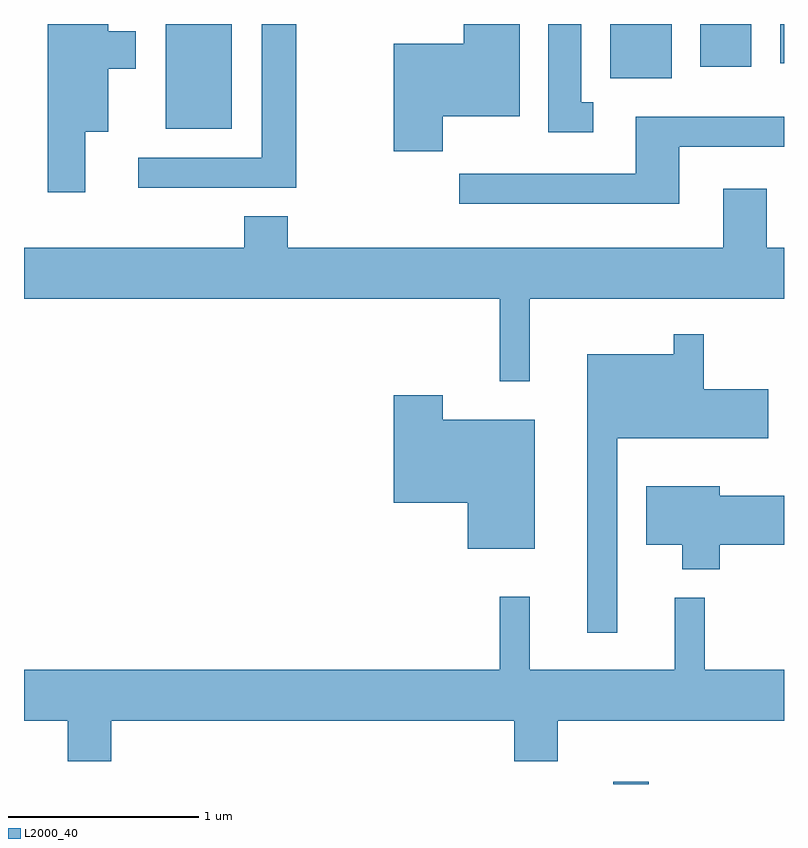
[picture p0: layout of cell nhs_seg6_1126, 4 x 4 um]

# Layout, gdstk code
import gdstk
lib = gdstk.Library(unit=1e-6, precision=1e-09)
def R(c, l, rs):  # rectangles x0, y0, x1, y1
    for r in rs: c.add(gdstk.rectangle(r[:2], r[2:], *l))
def P(c, l, *ps):  # polygons
    for p in ps: c.add(gdstk.Polygon(p, *l))
L2000_40 = (2000, 40)

nhs_seg6_1126 = lib.new_cell('nhs_seg6_1126')
R(nhs_seg6_1126, L2000_40, [(222.711,1534.162,222.899,1534.174), (220.356,1537.611,220.704,1538.162), (222.696,1537.876,223.019,1538.162), (223.171,1537.936,223.439,1538.162), (223.591,1537.956,223.611,1538.162)])
P(nhs_seg6_1126, L2000_40, [(221.044,1538.162),(220.861,1538.162),(220.861,1537.459),(220.213,1537.459),(220.213,1537.301),(221.044,1537.301)],
  [(221.814,1537.676),(222.219,1537.676),(222.219,1538.162),(221.926,1538.162),(221.926,1538.059),(221.556,1538.059),(221.556,1537.491),(221.814,1537.491)],
  [(222.608,1537.749),(222.544,1537.749),(222.544,1538.162),(222.371,1538.162),(222.371,1537.591),(222.608,1537.591)],
  [(219.934,1537.596),(220.054,1537.596),(220.054,1537.926),(220.199,1537.926),(220.199,1538.124),(220.054,1538.124),(220.054,1538.162),(219.736,1538.162),(219.736,1537.276),(219.934,1537.276)],
  [(223.059,1537.516),(223.611,1537.516),(223.611,1537.674),(222.831,1537.674),(222.831,1537.374),(221.903,1537.374),(221.903,1537.216),(223.059,1537.216)],
  [(222.274,1536.716),(223.611,1536.716),(223.611,1536.984),(223.519,1536.984),(223.519,1537.294),(223.291,1537.294),(223.291,1536.984),(220.999,1536.984),(220.999,1537.149),(220.771,1537.149),(220.771,1536.984),(219.611,1536.984),(219.611,1536.716),(222.116,1536.716),(222.116,1536.283),(222.274,1536.283)],
  [(222.734,1535.981),(223.529,1535.981),(223.529,1536.239),(223.189,1536.239),(223.189,1536.528),(223.031,1536.528),(223.031,1536.424),(222.576,1536.424),(222.576,1534.958),(222.734,1534.958)],
  [(222.299,1536.079),(221.814,1536.079),(221.814,1536.209),(221.556,1536.209),(221.556,1535.641),(221.946,1535.641),(221.946,1535.401),(222.299,1535.401)],
  [(223.274,1535.421),(223.611,1535.421),(223.611,1535.679),(223.274,1535.679),(223.274,1535.729),(222.886,1535.729),(222.886,1535.421),(223.076,1535.421),(223.076,1535.291),(223.274,1535.291)],
  [(220.069,1534.496),(222.191,1534.496),(222.191,1534.281),(222.419,1534.281),(222.419,1534.496),(223.611,1534.496),(223.611,1534.764),(223.194,1534.764),(223.194,1535.143),(223.036,1535.143),(223.036,1534.764),(222.274,1534.764),(222.274,1535.148),(222.116,1535.148),(222.116,1534.764),(219.611,1534.764),(219.611,1534.496),(219.841,1534.496),(219.841,1534.281),(220.069,1534.281)])

lib.write_gds('nhs_seg6_1126.gds')
